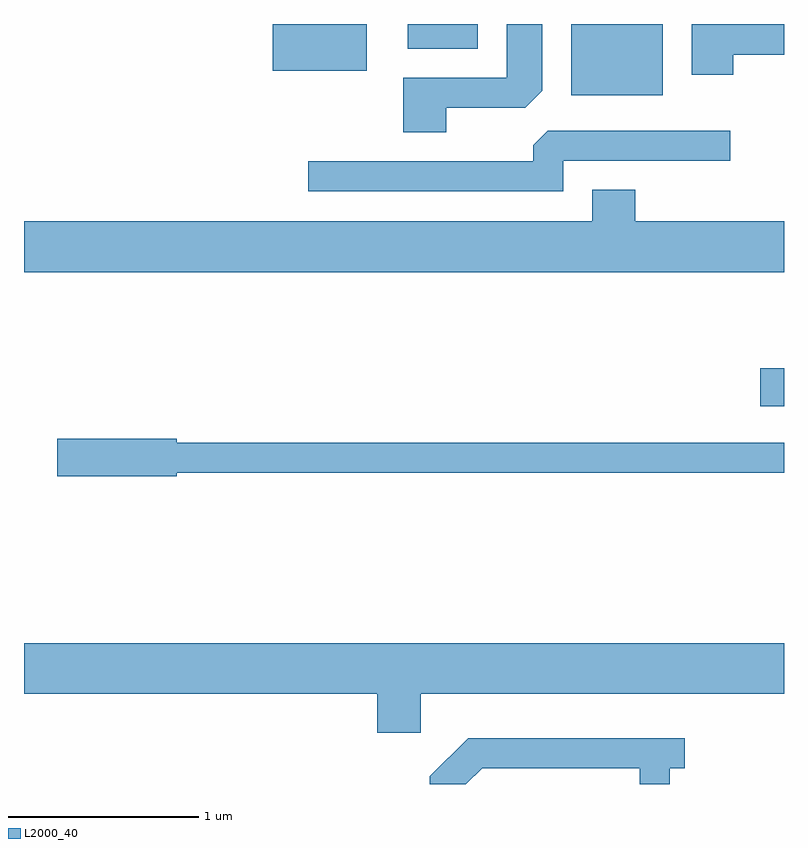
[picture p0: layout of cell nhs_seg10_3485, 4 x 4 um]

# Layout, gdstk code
import gdstk
lib = gdstk.Library(unit=1e-6, precision=1e-09)
def R(c, l, rs):  # rectangles x0, y0, x1, y1
    for r in rs: c.add(gdstk.rectangle(r[:2], r[2:], *l))
def P(c, l, *ps):  # polygons
    for p in ps: c.add(gdstk.Polygon(p, *l))
L2000_40 = (2000, 40)

nhs_seg10_3485 = lib.new_cell('nhs_seg10_3485')
R(nhs_seg10_3485, L2000_40, [(291.486,2146.511,291.611,2146.709), (290.491,2148.146,290.974,2148.522), (288.921,2148.276,289.414,2148.522), (289.631,2148.391,289.999,2148.522)])
P(nhs_seg10_3485, L2000_40, [(289.834,2148.081),(290.249,2148.081),(290.339,2148.172),(290.339,2148.522),(290.151,2148.522),(290.151,2148.239),(289.606,2148.239),(289.606,2147.951),(289.834,2147.951)],
  [(291.344,2148.361),(291.611,2148.361),(291.611,2148.522),(291.126,2148.522),(291.126,2148.256),(291.344,2148.256)],
  [(290.449,2147.801),(291.328,2147.801),(291.328,2147.959),(290.367,2147.959),(290.291,2147.884),(290.291,2147.799),(289.108,2147.799),(289.108,2147.641),(290.449,2147.641)],
  [(291.611,2147.484),(290.829,2147.484),(290.829,2147.649),(290.601,2147.649),(290.601,2147.484),(287.611,2147.484),(287.611,2147.216),(291.611,2147.216)],
  [(288.414,2146.161),(291.611,2146.161),(291.611,2146.319),(288.414,2146.319),(288.414,2146.339),(287.786,2146.339),(287.786,2146.141),(288.414,2146.141)],
  [(289.699,2144.996),(291.611,2144.996),(291.611,2145.264),(287.611,2145.264),(287.611,2144.996),(289.471,2144.996),(289.471,2144.791),(289.699,2144.791)],
  [(290.022,2144.606),(290.851,2144.606),(290.851,2144.522),(291.009,2144.522),(291.009,2144.606),(291.088,2144.606),(291.088,2144.764),(289.949,2144.764),(289.746,2144.562),(289.746,2144.522),(289.937,2144.522)])

lib.write_gds('nhs_seg10_3485.gds')
